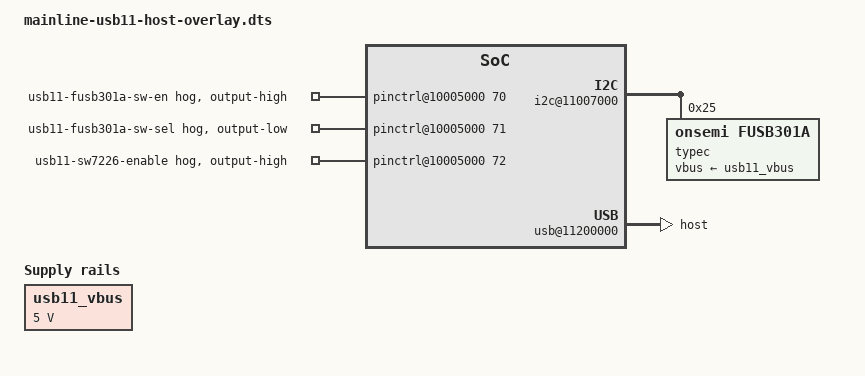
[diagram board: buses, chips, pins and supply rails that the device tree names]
/dts-v1/;
/plugin/;

/*
 * Fixed-host enablement for the physical right USB-C port.  The MT6797
 * controller/PHY resources and host policy are already carried in the ixoo
 * base DT.  The physical connector also needs the board's FUSB301A CC
 * controller, GPIO94 VBUS load switch, and GPIO70/71/72 USB route state.
 */
&{/} {
	usb11_vbus: regulator-usb11-vbus {
		compatible = "regulator-fixed";
		regulator-name = "usb11-vbus";
		regulator-min-microvolt = <5000000>;
		regulator-max-microvolt = <5000000>;
		/* The fixed, hash-validated base DT assigns phandle 9 to MT6797 PIO. */
		gpio = <0x9 94 0>;
		enable-active-high;
	};
};

&{/pinctrl@10005000} {
	usb11_i2c0_pins: usb11-i2c0-pins {
		pins-bus {
			/* GPIO37=SCL0_0, GPIO38=SDA0_0. */
			pinmux = <0x2501 0x2601>;
		};
	};

	/* FUSB301A ID is wired from GPIO64's EINT3 function. */
	usb11_fusb301a_irq_pins: usb11-fusb301a-irq-pins {
		pins-irq {
			pinmux = <0x4001>;
		};
	};

	/* Vendor fixed USB route: SW_EN=1, SW_SEL=0, SW7226_EN=1. */
	usb11-sw-en-hog {
		gpio-hog;
		gpios = <70 0>;
		output-high;
		line-name = "usb11-fusb301a-sw-en";
	};

	usb11-sw-sel-hog {
		gpio-hog;
		gpios = <71 0>;
		output-low;
		line-name = "usb11-fusb301a-sw-sel";
	};

	usb11-route-enable-hog {
		gpio-hog;
		gpios = <72 0>;
		output-high;
		line-name = "usb11-sw7226-enable";
	};
};

&{/i2c@11007000} {
	#address-cells = <1>;
	#size-cells = <0>;
	pinctrl-names = "default";
	pinctrl-0 = <&usb11_i2c0_pins>;
	status = "okay";

	typec@25 {
		compatible = "onsemi,fusb301a";
		reg = <0x25>;
		pinctrl-names = "default";
		pinctrl-0 = <&usb11_fusb301a_irq_pins>;
		interrupt-parent = <0x9>;
		interrupts = <3 3>;
		vbus-supply = <&usb11_vbus>;

		connector {
			compatible = "usb-c-connector";
			label = "Gemini right USB-C";
			power-role = "source";
			data-role = "host";
			typec-power-opmode = "default";
			pd-disable;
		};
	};
};

&{/t-phy@11210000} {
	/*
	 * The T-PHY driver owns this common window, while the child below owns
	 * 0x11210800..0x112108ff. Keeping the inherited 0x1000 size makes those
	 * resources overlap and the child fails to map with -EBUSY. Match the
	 * already-working MT6797 T-PHY layout at 0x11290000: common registers are
	 * the first 0x800 bytes and the port begins at offset 0x800.
	 */
	reg = <0 0x11210000 0 0x800>;
	status = "okay";
};

&{/t-phy@11210000/usb-phy@11210800} {
	/* Match the vendor USB11 host PHY's forced A-session register state. */
	mediatek,force-a-session-valid;
	status = "okay";
};

&{/usb@11200000} {
	status = "okay";
	dr_mode = "host";
};
